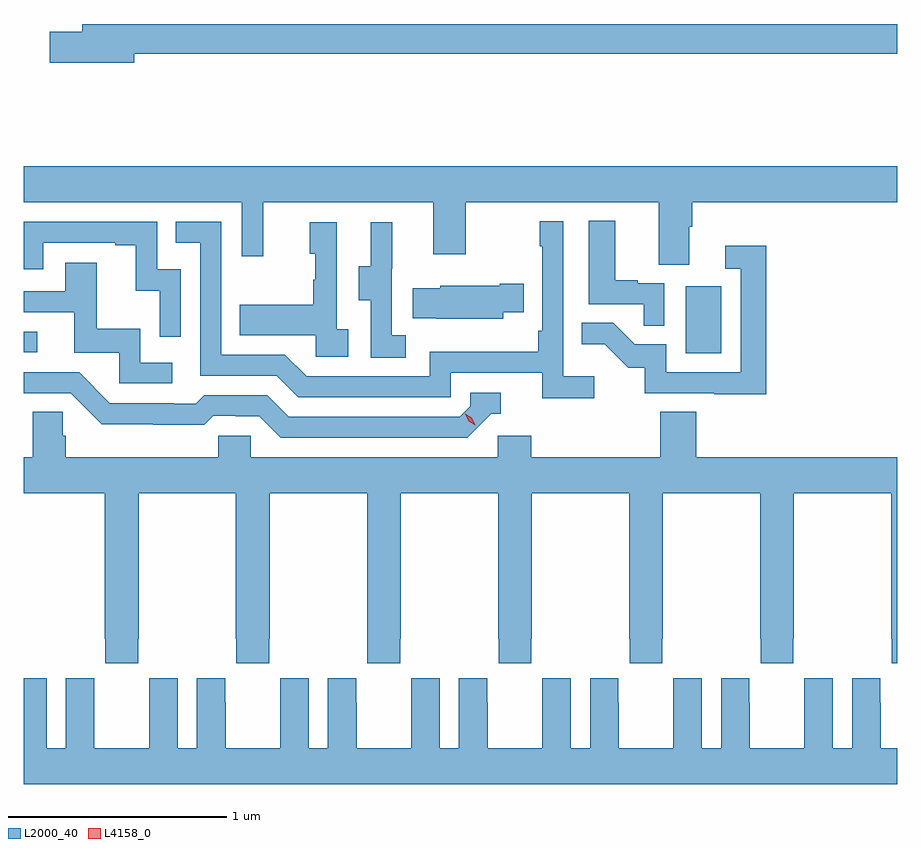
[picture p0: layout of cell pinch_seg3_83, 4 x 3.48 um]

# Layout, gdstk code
import gdstk
lib = gdstk.Library(unit=1e-6, precision=1e-09)
def R(c, l, rs):  # rectangles x0, y0, x1, y1
    for r in rs: c.add(gdstk.rectangle(r[:2], r[2:], *l))
def P(c, l, *ps):  # polygons
    for p in ps: c.add(gdstk.Polygon(p, *l))
L2000_40 = (2000, 40)
L4158_0 = (4158, 0)

pinch_seg3_83 = lib.new_cell('pinch_seg3_83')
R(pinch_seg3_83, L2000_40, [(1069.346,728.196,1069.51,728.503), (1066.315,728.202,1066.378,728.295)])
P(pinch_seg3_83, L2000_40, [(1066.822,729.568),(1070.315,729.568),(1070.315,729.704),(1066.583,729.704),(1066.583,729.668),(1066.434,729.668),(1066.434,729.526),(1066.822,729.526)],
  [(1069.363,728.776),(1069.376,728.776),(1069.376,728.888),(1070.315,728.888),(1070.315,729.052),(1066.315,729.052),(1066.315,728.888),(1067.313,728.888),(1067.313,728.64),(1067.411,728.64),(1067.411,728.888),(1068.191,728.888),(1068.191,728.649),(1068.339,728.649),(1068.339,728.888),(1069.223,728.888),(1069.223,728.602),(1069.363,728.602)],
  [(1069.248,728.517),(1069.127,728.517),(1069.127,728.53),(1069.024,728.53),(1069.024,728.803),(1068.902,728.803),(1068.902,728.421),(1069.153,728.421),(1069.153,728.323),(1069.248,728.323)],
  [(1068.928,728.092),(1068.786,728.092),(1068.786,728.8),(1068.678,728.8),(1068.678,728.687),(1068.69,728.687),(1068.69,728.299),(1068.67,728.299),(1068.67,728.203),(1068.174,728.203),(1068.174,728.091),(1067.61,728.091),(1067.511,728.19),(1067.22,728.19),(1067.22,728.799),(1067.011,728.799),(1067.011,728.703),(1067.124,728.703),(1067.124,728.094),(1067.474,728.094),(1067.573,727.995),(1068.27,727.995),(1068.27,728.106),(1068.689,728.106),(1068.689,727.99),(1068.928,727.99)],
  [(1067.034,728.58),(1066.926,728.58),(1066.926,728.799),(1066.315,728.799),(1066.315,728.58),(1066.404,728.58),(1066.404,728.703),(1066.733,728.703),(1066.733,728.691),(1066.829,728.691),(1066.829,728.483),(1066.938,728.483),(1066.938,728.271),(1067.034,728.271)],
  [(1068.064,728.279),(1068,728.279),(1068,728.583),(1068.002,728.583),(1068.002,728.797),(1067.903,728.797),(1067.903,728.595),(1067.849,728.595),(1067.849,728.44),(1067.904,728.44),(1067.904,728.176),(1068.064,728.176)],
  [(1067.8,728.306),(1067.748,728.306),(1067.748,728.797),(1067.624,728.797),(1067.624,728.652),(1067.65,728.652),(1067.65,728.534),(1067.64,728.534),(1067.64,728.419),(1067.305,728.419),(1067.305,728.279),(1067.652,728.279),(1067.652,728.181),(1067.8,728.181)],
  [(1069.715,728.689),(1069.527,728.689),(1069.527,728.583),(1069.599,728.583),(1069.599,728.109),(1069.257,728.109),(1069.257,728.238),(1069.112,728.238),(1069.014,728.336),(1068.871,728.336),(1068.871,728.237),(1068.975,728.237),(1069.082,728.13),(1069.159,728.13),(1069.159,728.013),(1069.477,728.013),(1069.477,728.008),(1069.715,728.008)],
  [(1066.996,728.154),(1066.848,728.154),(1066.848,728.308),(1066.649,728.308),(1066.649,728.611),(1066.505,728.611),(1066.505,728.481),(1066.315,728.481),(1066.315,728.385),(1066.547,728.385),(1066.547,728.199),(1066.752,728.199),(1066.752,728.058),(1066.996,728.058)],
  [(1068.511,728.384),(1068.605,728.384),(1068.605,728.514),(1068.494,728.514),(1068.494,728.506),(1068.222,728.506),(1068.222,728.494),(1068.097,728.494),(1068.097,728.357),(1068.205,728.357),(1068.205,728.354),(1068.511,728.354)],
  [(1068.456,727.92),(1068.499,727.92),(1068.499,728.016),(1068.36,728.016),(1068.36,727.953),(1068.312,727.905),(1067.529,727.905),(1067.43,728.004),(1067.141,728.004),(1067.102,727.965),(1067.003,727.965),(1067.003,727.968),(1066.71,727.968),(1066.569,728.109),(1066.315,728.109),(1066.315,728.013),(1066.53,728.013),(1066.672,727.871),(1066.908,727.871),(1066.908,727.869),(1067.141,727.869),(1067.183,727.911),(1067.286,727.911),(1067.286,727.908),(1067.393,727.908),(1067.492,727.809),(1068.345,727.809)],
  [(1067.355,727.818),(1067.205,727.818),(1067.205,727.72),(1066.508,727.72),(1066.508,727.818),(1066.493,727.818),(1066.493,727.928),(1066.356,727.928),(1066.356,727.72),(1066.315,727.72),(1066.315,727.556),(1066.687,727.556),(1066.687,726.889),(1066.689,726.889),(1066.689,726.777),(1066.839,726.777),(1066.839,726.889),(1066.842,726.889),(1066.842,727.556),(1067.287,727.556),(1067.287,726.889),(1067.289,726.889),(1067.289,726.777),(1067.439,726.777),(1067.439,726.889),(1067.442,726.889),(1067.442,727.556),(1067.887,727.556),(1067.887,726.889),(1067.889,726.889),(1067.889,726.777),(1068.039,726.777),(1068.039,726.889),(1068.042,726.889),(1068.042,727.556),(1068.487,727.556),(1068.487,726.889),(1068.489,726.889),(1068.489,726.777),(1068.639,726.777),(1068.639,726.889),(1068.642,726.889),(1068.642,727.556),(1069.087,727.556),(1069.087,726.889),(1069.089,726.889),(1069.089,726.777),(1069.239,726.777),(1069.239,726.889),(1069.242,726.889),(1069.242,727.556),(1069.687,727.556),(1069.687,726.889),(1069.689,726.889),(1069.689,726.777),(1069.839,726.777),(1069.839,726.889),(1069.842,726.889),(1069.842,727.556),(1070.287,727.556),(1070.287,726.889),(1070.289,726.889),(1070.289,726.777),(1070.315,726.777),(1070.315,727.72),(1069.394,727.72),(1069.394,727.928),(1069.229,727.928),(1069.229,727.72),(1068.638,727.72),(1068.638,727.818),(1068.486,727.818),(1068.486,727.72),(1067.355,727.72)],
  [(1070.315,726.388),(1070.239,726.388),(1070.239,726.596),(1070.238,726.596),(1070.238,726.709),(1070.108,726.709),(1070.108,726.388),(1070.02,726.388),(1070.02,726.709),(1069.89,726.709),(1069.89,726.596),(1069.889,726.596),(1069.889,726.388),(1069.639,726.388),(1069.639,726.596),(1069.638,726.596),(1069.638,726.709),(1069.508,726.709),(1069.508,726.388),(1069.42,726.388),(1069.42,726.709),(1069.29,726.709),(1069.29,726.596),(1069.289,726.596),(1069.289,726.388),(1069.039,726.388),(1069.039,726.596),(1069.038,726.596),(1069.038,726.709),(1068.908,726.709),(1068.908,726.388),(1068.82,726.388),(1068.82,726.709),(1068.69,726.709),(1068.69,726.596),(1068.689,726.596),(1068.689,726.388),(1068.439,726.388),(1068.439,726.596),(1068.438,726.596),(1068.438,726.709),(1068.308,726.709),(1068.308,726.388),(1068.22,726.388),(1068.22,726.709),(1068.09,726.709),(1068.09,726.596),(1068.089,726.596),(1068.089,726.388),(1067.839,726.388),(1067.839,726.596),(1067.838,726.596),(1067.838,726.709),(1067.708,726.709),(1067.708,726.388),(1067.62,726.388),(1067.62,726.709),(1067.49,726.709),(1067.49,726.596),(1067.489,726.596),(1067.489,726.388),(1067.239,726.388),(1067.239,726.596),(1067.238,726.596),(1067.238,726.709),(1067.108,726.709),(1067.108,726.388),(1067.02,726.388),(1067.02,726.709),(1066.89,726.709),(1066.89,726.596),(1066.889,726.596),(1066.889,726.388),(1066.639,726.388),(1066.639,726.596),(1066.638,726.596),(1066.638,726.709),(1066.508,726.709),(1066.508,726.388),(1066.42,726.388),(1066.42,726.709),(1066.315,726.709),(1066.315,726.224),(1070.315,726.224)])
P(pinch_seg3_83, L4158_0, [(1068.383,727.867),(1068.352,727.886),(1068.336,727.919),(1068.336,727.919),(1068.336,727.919),(1068.367,727.9),(1068.383,727.867),(1068.383,727.867)])

lib.write_gds('pinch_seg3_83.gds')
